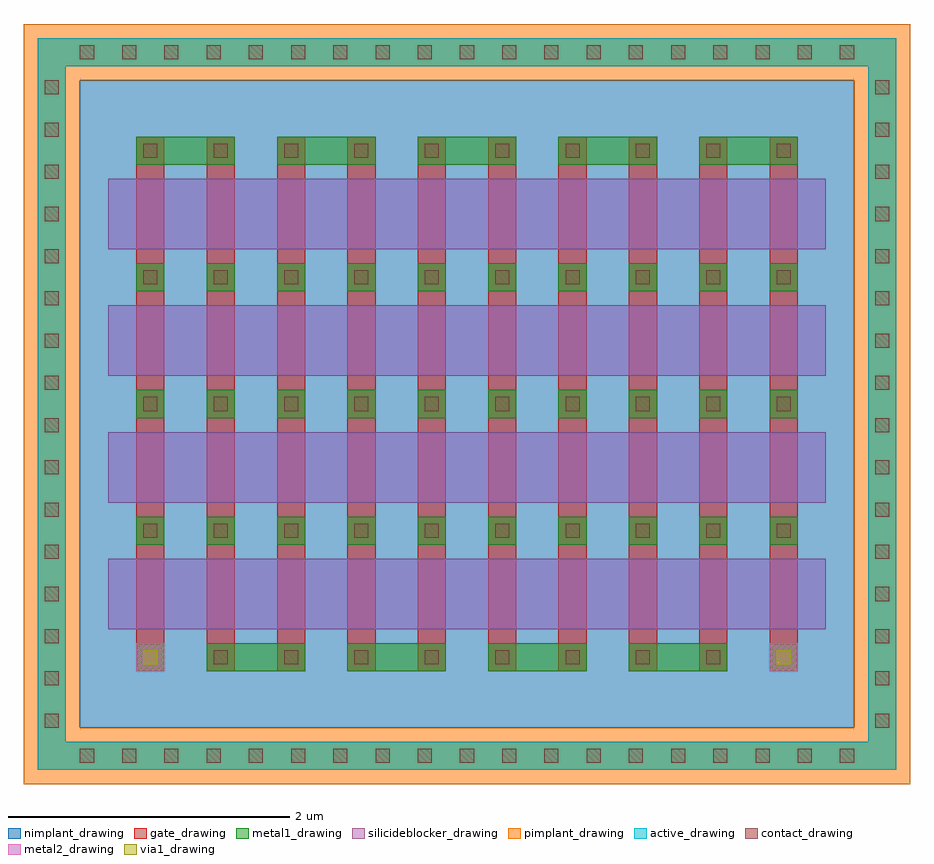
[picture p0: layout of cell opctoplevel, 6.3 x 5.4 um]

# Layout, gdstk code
import gdstk
lib = gdstk.Library(unit=1e-6, precision=1e-09)
def R(c, l, rs):  # rectangles x0, y0, x1, y1
    for r in rs: c.add(gdstk.rectangle(r[:2], r[2:], *l))
def A(c, l, x, y, w, h, nx, ny, dx, dy):  # array of equal rectangles
    R(c, l, [(x+i*dx, y+j*dy, x+i*dx+w, y+j*dy+h) for i in range(nx) for j in range(ny)])
active_drawing = (1, 0)
pimplant_drawing = (4, 0)
nimplant_drawing = (5, 0)
gate_drawing = (6, 0)
contact_drawing = (7, 0)
metal1_drawing = (8, 0)
via1_drawing = (9, 0)
metal2_drawing = (10, 0)
silicideblocker_drawing = (28, 0)

opctoplevel = lib.new_cell('opctoplevel')
R(opctoplevel, active_drawing, [(-0.7,-0.7,5.4,-0.5), (-0.7,-0.7,-0.5,4.5), (5.2,-0.7,5.4,4.5), (-0.7,4.3,5.4,4.5)])
R(opctoplevel, pimplant_drawing, [(-0.8,-0.8,5.5,-0.4), (-0.8,-0.8,-0.4,4.6), (5.1,-0.8,5.5,4.6), (-0.8,4.2,5.5,4.6)])
R(opctoplevel, nimplant_drawing, [(-0.4,-0.4,5.1,4.2)])
A(opctoplevel, gate_drawing, 0, 0, 0.2, 3.8, 10, 1, 0.5, 0)
A(opctoplevel, gate_drawing, 0, 0, 0.2, 0.2, 10, 2, 0.5, 3.6)
R(opctoplevel, gate_drawing, [(0,0.9,0.2,1.1), (0,0.9,0.2,1.1), (0.5,0.9,0.7,1.1), (0.5,0.9,0.7,1.1), (1,0.9,1.2,1.1), (1,0.9,1.2,1.1), (1.5,0.9,1.7,1.1), (1.5,0.9,1.7,1.1), (2,0.9,2.2,1.1), (2,0.9,2.2,1.1), (2.5,0.9,2.7,1.1), (2.5,0.9,2.7,1.1), (3,0.9,3.2,1.1), (3,0.9,3.2,1.1), (3.5,0.9,3.7,1.1), (3.5,0.9,3.7,1.1), (4,0.9,4.2,1.1), (4,0.9,4.2,1.1), (4.5,0.9,4.7,1.1), (4.5,0.9,4.7,1.1), (0,1.8,0.2,2), (0,1.8,0.2,2), (0.5,1.8,0.7,2), (0.5,1.8,0.7,2), (1,1.8,1.2,2), (1,1.8,1.2,2), (1.5,1.8,1.7,2), (1.5,1.8,1.7,2), (2,1.8,2.2,2), (2,1.8,2.2,2), (2.5,1.8,2.7,2), (2.5,1.8,2.7,2), (3,1.8,3.2,2), (3,1.8,3.2,2), (3.5,1.8,3.7,2), (3.5,1.8,3.7,2), (4,1.8,4.2,2), (4,1.8,4.2,2), (4.5,1.8,4.7,2), (4.5,1.8,4.7,2), (0,2.7,0.2,2.9), (0,2.7,0.2,2.9), (0.5,2.7,0.7,2.9), (0.5,2.7,0.7,2.9), (1,2.7,1.2,2.9), (1,2.7,1.2,2.9), (1.5,2.7,1.7,2.9), (1.5,2.7,1.7,2.9), (2,2.7,2.2,2.9), (2,2.7,2.2,2.9), (2.5,2.7,2.7,2.9), (2.5,2.7,2.7,2.9), (3,2.7,3.2,2.9), (3,2.7,3.2,2.9), (3.5,2.7,3.7,2.9), (3.5,2.7,3.7,2.9), (4,2.7,4.2,2.9), (4,2.7,4.2,2.9), (4.5,2.7,4.7,2.9), (4.5,2.7,4.7,2.9)])
A(opctoplevel, contact_drawing, -0.4, -0.65, 0.1, 0.1, 19, 2, 0.3, 5)
A(opctoplevel, contact_drawing, -0.65, -0.4, 0.1, 0.1, 1, 16, 0, 0.3)
A(opctoplevel, contact_drawing, 5.25, -0.4, 0.1, 0.1, 1, 16, 0, 0.3)
A(opctoplevel, contact_drawing, 0.05, 0.05, 0.1, 0.1, 10, 2, 0.5, 3.6)
R(opctoplevel, contact_drawing, [(0.05,0.95,0.15,1.05), (0.05,0.95,0.15,1.05), (0.55,0.95,0.65,1.05), (0.55,0.95,0.65,1.05), (1.05,0.95,1.15,1.05), (1.05,0.95,1.15,1.05), (1.55,0.95,1.65,1.05), (1.55,0.95,1.65,1.05), (2.05,0.95,2.15,1.05), (2.05,0.95,2.15,1.05), (2.55,0.95,2.65,1.05), (2.55,0.95,2.65,1.05), (3.05,0.95,3.15,1.05), (3.05,0.95,3.15,1.05), (3.55,0.95,3.65,1.05), (3.55,0.95,3.65,1.05), (4.05,0.95,4.15,1.05), (4.05,0.95,4.15,1.05), (4.55,0.95,4.65,1.05), (4.55,0.95,4.65,1.05), (0.05,1.85,0.15,1.95), (0.05,1.85,0.15,1.95), (0.55,1.85,0.65,1.95), (0.55,1.85,0.65,1.95), (1.05,1.85,1.15,1.95), (1.05,1.85,1.15,1.95), (1.55,1.85,1.65,1.95), (1.55,1.85,1.65,1.95), (2.05,1.85,2.15,1.95), (2.05,1.85,2.15,1.95), (2.55,1.85,2.65,1.95), (2.55,1.85,2.65,1.95), (3.05,1.85,3.15,1.95), (3.05,1.85,3.15,1.95), (3.55,1.85,3.65,1.95), (3.55,1.85,3.65,1.95), (4.05,1.85,4.15,1.95), (4.05,1.85,4.15,1.95), (4.55,1.85,4.65,1.95), (4.55,1.85,4.65,1.95), (0.05,2.75,0.15,2.85), (0.05,2.75,0.15,2.85), (0.55,2.75,0.65,2.85), (0.55,2.75,0.65,2.85), (1.05,2.75,1.15,2.85), (1.05,2.75,1.15,2.85), (1.55,2.75,1.65,2.85), (1.55,2.75,1.65,2.85), (2.05,2.75,2.15,2.85), (2.05,2.75,2.15,2.85), (2.55,2.75,2.65,2.85), (2.55,2.75,2.65,2.85), (3.05,2.75,3.15,2.85), (3.05,2.75,3.15,2.85), (3.55,2.75,3.65,2.85), (3.55,2.75,3.65,2.85), (4.05,2.75,4.15,2.85), (4.05,2.75,4.15,2.85), (4.55,2.75,4.65,2.85), (4.55,2.75,4.65,2.85)])
A(opctoplevel, metal1_drawing, 0, 0, 0.2, 0.2, 10, 2, 0.5, 3.6)
A(opctoplevel, metal1_drawing, 0.5, 0, 0.7, 0.2, 4, 1, 1, 0)
A(opctoplevel, metal1_drawing, 0, 3.6, 0.7, 0.2, 5, 1, 1, 0)
R(opctoplevel, metal1_drawing, [(-0.7,-0.7,5.4,-0.5), (-0.7,-0.7,-0.5,4.5), (5.2,-0.7,5.4,4.5), (0,0,0.2,0.2), (4.5,0,4.7,0.2), (0,0.9,0.2,1.1), (0,0.9,0.2,1.1), (0,0.9,0.2,1.1), (0.5,0.9,0.7,1.1), (0.5,0.9,0.7,1.1), (0.5,0.9,0.7,1.1), (1,0.9,1.2,1.1), (1,0.9,1.2,1.1), (1,0.9,1.2,1.1), (1.5,0.9,1.7,1.1), (1.5,0.9,1.7,1.1), (1.5,0.9,1.7,1.1), (2,0.9,2.2,1.1), (2,0.9,2.2,1.1), (2,0.9,2.2,1.1), (2.5,0.9,2.7,1.1), (2.5,0.9,2.7,1.1), (2.5,0.9,2.7,1.1), (3,0.9,3.2,1.1), (3,0.9,3.2,1.1), (3,0.9,3.2,1.1), (3.5,0.9,3.7,1.1), (3.5,0.9,3.7,1.1), (3.5,0.9,3.7,1.1), (4,0.9,4.2,1.1), (4,0.9,4.2,1.1), (4,0.9,4.2,1.1), (4.5,0.9,4.7,1.1), (4.5,0.9,4.7,1.1), (4.5,0.9,4.7,1.1), (0,1.8,0.2,2), (0,1.8,0.2,2), (0,1.8,0.2,2), (0.5,1.8,0.7,2), (0.5,1.8,0.7,2), (0.5,1.8,0.7,2), (1,1.8,1.2,2), (1,1.8,1.2,2), (1,1.8,1.2,2), (1.5,1.8,1.7,2), (1.5,1.8,1.7,2), (1.5,1.8,1.7,2), (2,1.8,2.2,2), (2,1.8,2.2,2), (2,1.8,2.2,2), (2.5,1.8,2.7,2), (2.5,1.8,2.7,2), (2.5,1.8,2.7,2), (3,1.8,3.2,2), (3,1.8,3.2,2), (3,1.8,3.2,2), (3.5,1.8,3.7,2), (3.5,1.8,3.7,2), (3.5,1.8,3.7,2), (4,1.8,4.2,2), (4,1.8,4.2,2), (4,1.8,4.2,2), (4.5,1.8,4.7,2), (4.5,1.8,4.7,2), (4.5,1.8,4.7,2), (0,2.7,0.2,2.9), (0,2.7,0.2,2.9), (0,2.7,0.2,2.9), (0.5,2.7,0.7,2.9), (0.5,2.7,0.7,2.9), (0.5,2.7,0.7,2.9), (1,2.7,1.2,2.9), (1,2.7,1.2,2.9), (1,2.7,1.2,2.9), (1.5,2.7,1.7,2.9), (1.5,2.7,1.7,2.9), (1.5,2.7,1.7,2.9), (2,2.7,2.2,2.9), (2,2.7,2.2,2.9), (2,2.7,2.2,2.9), (2.5,2.7,2.7,2.9), (2.5,2.7,2.7,2.9), (2.5,2.7,2.7,2.9), (3,2.7,3.2,2.9), (3,2.7,3.2,2.9), (3,2.7,3.2,2.9), (3.5,2.7,3.7,2.9), (3.5,2.7,3.7,2.9), (3.5,2.7,3.7,2.9), (4,2.7,4.2,2.9), (4,2.7,4.2,2.9), (4,2.7,4.2,2.9), (4.5,2.7,4.7,2.9), (4.5,2.7,4.7,2.9), (4.5,2.7,4.7,2.9), (-0.7,4.3,5.4,4.5)])
R(opctoplevel, via1_drawing, [(0.05,0.05,0.15,0.15), (4.55,0.05,4.65,0.15)])
R(opctoplevel, metal2_drawing, [(0,0,0.2,0.2), (4.5,0,4.7,0.2)])
A(opctoplevel, silicideblocker_drawing, -0.2, 0.3, 5.1, 0.5, 1, 4, 0, 0.9)

lib.write_gds('opctoplevel.gds')
